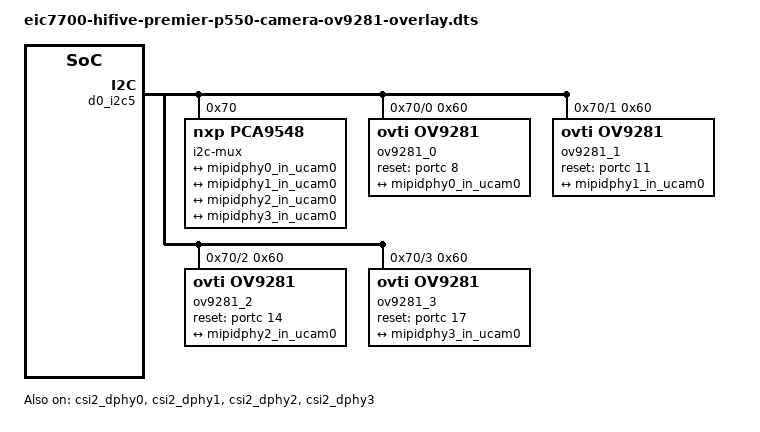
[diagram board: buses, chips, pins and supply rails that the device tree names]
/* SPDX-License-Identifier: GPL-2.0 */
/*
 * Copyright 2026, Beijing ESWIN Computing Technology Co., Ltd.. All rights reserved.
 *
 */

/dts-v1/;
/plugin/;

/ {
	fragment@0 {
		target = <&vi_subsys>;
		__overlay__ {
			phy_mode = <5>;
		};
	};

	fragment@1 {
		target = <&mipidphy0_in_ucam0>;
		__overlay__ {
			remote-endpoint = <&ov9281_out0>;
			data-lanes = <1 2>;
		};
	};

	fragment@2 {
		target = <&mipidphy1_in_ucam0>;
		__overlay__ {
			remote-endpoint = <&ov9281_out1>;
			data-lanes = <1 2>;
		};
	};

	fragment@3 {
		target = <&mipidphy2_in_ucam0>;
		__overlay__ {
			remote-endpoint = <&ov9281_out2>;
			data-lanes = <1 2>;
		};
	};

	fragment@4 {
		target = <&mipidphy3_in_ucam0>;
		__overlay__ {
			remote-endpoint = <&ov9281_out3>;
			data-lanes = <1 2>;
		};
	};

	fragment@5 {
		target = <&csi2_dphy0>;
		__overlay__ {
			status = "okay";
		};
	};

	fragment@6 {
		target = <&csi2_dphy1>;
		__overlay__ {
			status = "okay";
		};
	};

	fragment@7 {
		target = <&csi2_dphy2>;
		__overlay__ {
			status = "okay";
		};
	};

	fragment@8 {
		target = <&csi2_dphy3>;
		__overlay__ {
			status = "okay";
		};
	};

	fragment@9 {
		target =  <&d0_i2c5>;
		__overlay__ {
			i2c-mux@70 {
				/*compatible = "ti,tca9548"; */
				compatible = "nxp,pca9548";
				#address-cells = <1>;
				#size-cells = <0>;
				reg = <0x70>;
				i2c@0 {
					#address-cells = <1>;
					#size-cells = <0>;
					reg = <0x0>;

					ov9281_0: ov9281_0@60 {
						status = "okay";
						compatible = "ovti,ov9281";
						reg = <0x60>;

						clocks = <&d0_clock 0x244>;
						assigned-clocks = <&d0_clock 0x244>;
						assigned-clock-rates = <24000000>;
						clock-names = "xclk";
						pinctrl-names = "default";
						pinctrl-0 = <&pinctrl_gpio72_default>;
						reset-gpio = <&portc 8 0>;
						power-domains = <&d0_pmu 2>;

						port {
							ov9281_out0: endpoint {
								remote-endpoint = <&mipidphy0_in_ucam0>;
								data-lanes = <1 2>;
								link-frequencies = /bits/ 64 <400000000>;
							};
						};
					};
				};

				i2c@1 {
					#address-cells = <1>;
					#size-cells = <0>;
					reg = <0x1>;

					ov9281_1: ov9281_1@60 {
						status = "okay";
						compatible = "ovti,ov9281";
						reg = <0x60>;

						clocks = <&d0_clock 0x244>;
						assigned-clocks = <&d0_clock 0x244>;
						assigned-clock-rates = <24000000>;
						clock-names = "xclk";
						pinctrl-names = "default";
						pinctrl-0 = <&pinctrl_gpio75_default>;
						reset-gpio = <&portc 11 0>;
						power-domains = <&d0_pmu 2>;

						port {
							ov9281_out1: endpoint {
								remote-endpoint = <&mipidphy1_in_ucam0>;
								data-lanes = <1 2>;
								link-frequencies = /bits/ 64 <400000000>;
							};
						};
					};
				};

				i2c@2 {
					#address-cells = <1>;
					#size-cells = <0>;
					reg = <0x2>;

					ov9281_2: ov9281_2@60 {
						status = "okay";
						compatible = "ovti,ov9281";
						reg = <0x60>;

						clocks = <&d0_clock 0x244>;
						assigned-clocks = <&d0_clock 0x244>;
						assigned-clock-rates = <24000000>;
						clock-names = "xclk";
						pinctrl-names = "default";
						pinctrl-0 = <&pinctrl_gpio78_default>;
						reset-gpio = <&portc 14 0>;
						power-domains = <&d0_pmu 2>;

						port {
							ov9281_out2: endpoint {
								remote-endpoint = <&mipidphy2_in_ucam0>;
								data-lanes = <1 2>;
								link-frequencies = /bits/ 64 <400000000>;
							};
						};
					};
				};
				
				i2c@3 {
					#address-cells = <1>;
					#size-cells = <0>;
					reg = <0x3>;

					ov9281_3: ov9281_3@60 {
						status = "okay";
						compatible = "ovti,ov9281";
						reg = <0x60>;

						clocks = <&d0_clock 0x244>;
						assigned-clocks = <&d0_clock 0x244>;
						assigned-clock-rates = <24000000>;
						clock-names = "xclk";
						pinctrl-names = "default";
						pinctrl-0 = <&pinctrl_gpio81_default>;
						reset-gpio = <&portc 17 0>;
						power-domains = <&d0_pmu 2>;

						port {
							ov9281_out3: endpoint {
								remote-endpoint = <&mipidphy3_in_ucam0>;
								data-lanes = <1 2>;
								link-frequencies = /bits/ 64 <400000000>;
							};
						};
					};
				};
			};
		};
	};
};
